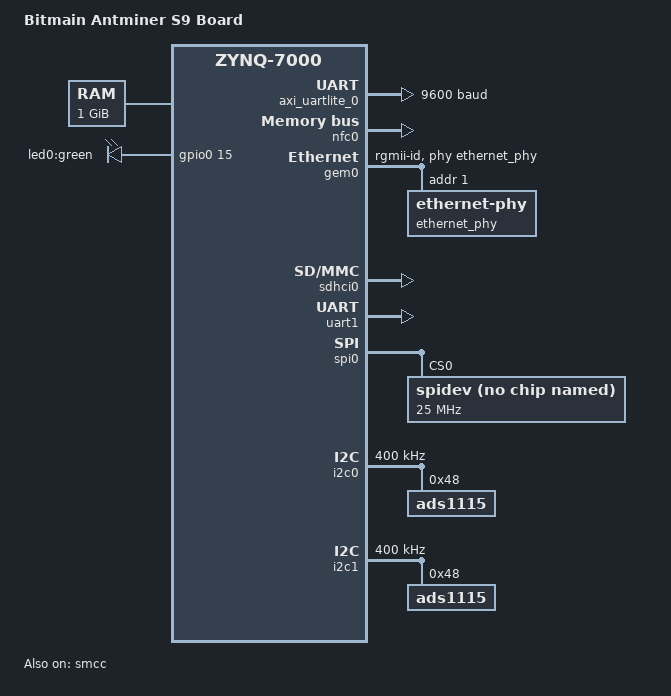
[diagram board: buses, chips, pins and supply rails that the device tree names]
// SPDX-License-Identifier: GPL-2.0
/*
 * Bitmain Antminer S9 board DTS
 *
 * Copyright (C) 2018 Michal Simek
 * Copyright (C) 2018 VanguardiaSur
 */
/dts-v1/;
/include/ "zynq-7000.dtsi"

/ {
	model = "Bitmain Antminer S9 Board";
	compatible = "bitmain,antminer-s9", "xlnx,zynq-7000";

	aliases {
		ethernet0 = &gem0;
		serial0 = &uart1;
		serial1 = &axi_uartlite_0;
		mmc0 = &sdhci0;
		gpio0 = &gpio0;
	};

	memory@0 {
		device_type = "memory";
		reg = <0x0 0x40000000>;
	};

	reserved-memory {
		#address-cells = <1>;
		#size-cells = <1>;
		ranges;

		bootcount@efffff0 {
			reg = <0xefffff0 0x10>;
			no-map;
		};

		fpga_space@f000000 {
			reg = <0xf000000 0x1000000>;
			no-map;
		};
	};

	chosen {
		bootargs = "earlycon clk_ignore_unused";
		stdout-path = "serial0:115200n8";
	};

	leds {
		compatible = "gpio-leds";
		led0 {
			label = "led0:green";
			gpios = <&gpio0 15 0>;
			linux,default-trigger = "heartbeat";
		};
	};

	fpga_axi: amba_pl {
		compatible = "simple-bus";
		#address-cells = <0x1>;
		#size-cells = <0x1>;
		ranges;
		firmware-name = "system_bd_wrapper.bit.bin";


		axi_fifo_1: axi_fifo@42c02000 {
			compatible = "generic-uio";
			interrupts = <0x0 0x1e 0x4>;
			interrupt-parent = <&intc>;
			reg = <0x42c02000 0x2000>;
			clocks = <&clkc 0xf>;
		};

		axi_uartlite_0: serial@42c00000 {
				phandle = <0x5>;
				interrupts = <0x0 0x1d 0x1>;
				compatible = "xlnx,axi-uartlite-1.02.a", "xlnx,axi-uartlite-2.0", "xlnx,xps-uartlite-1.00.a";
				port-number = <0x0>;
				xlnx,uartlite-board-interface = "Custom";
				xlnx,s-axi-aclk-freq-hz-d = <0x32>;
				interrupt-parent = <&intc>;
				xlnx,ip-name = "axi_uartlite";
				reg = <0x42c00000 0x2000>;
				xlnx,baudrate = <0x2580>;
				clocks = <&clkc 0xf>;
				current-speed = <0x2580>;
				device_type = "serial";
				xlnx,use-parity = <0x0>;
				xlnx,edk-iptype = "PERIPHERAL";
				xlnx,odd-parity = <0x0>;
				status = "okay";
				clock-names = "s_axi_aclk";
				interrupt-names = "interrupt";
				xlnx,data-bits = <0x8>;
				xlnx,parity = "No_Parity";
		};
	};

	clocking0: clocking0 {
			phandle = <0x4b>;
			compatible = "xlnx,fclk";
			assigned-clocks = <&clkc 0xf>;
			assigned-clock-rates = <0x2faf080>;
			#clock-cells = <0x0>;
			clock-output-names = "fabric_clk";
			clocks = <&clkc 0xf>;
	};
	
};

&clkc {
	ps-clk-frequency = <33333333>;
};

&nfc0 {
	status = "okay";
};

&smcc {
	status = "okay";
};

&gem0 {
	status = "okay";
	phy-mode = "rgmii-id";
	xlnx,ptp-enet-clock = <0x69f6bcb>;
	phy-handle = <&ethernet_phy>;

	/* 0362/5e62 */
	ethernet_phy: ethernet-phy@1 {
		reg = <1>;
	};
};

&sdhci0 {
	u-boot,dm-pre-reloc;
	bootph-all;
	status = "okay";
	disable-wp;
};

&uart1 {
	u-boot,dm-pre-reloc;
	bootph-all;
	status = "okay";
};

&spi0 {
    #address-cells=<1>;     
    #size-cells=<0>;	
    status = "okay";	
    num-cs = <1>;
    bus-num = <0>;
    is-decoded-cs = <0>;
	
    spidev@0x00 {
        //compatible = "spidev";
        compatible = "rohm,dh2228fv";
	
        /* Max SPI clock frequency via Zynq EMIO is 25MHz */	
        spi-max-frequency = <25000000>;

        /* slave number - CS */
        reg = <0>;

        /* Set SPI mode = 0 */		
        spi-cpol = <0>;	
        spi-cpha = <0>;
    };
};

&i2c0 {
	status = "okay";
	clock-frequency = <400000>;

        ads1115@48{
           compatible = "ads1115";
           reg = <0x48>;
        };
};

&i2c1 {
	status = "okay";
	clock-frequency = <400000>;

        ads1115@48{
           compatible = "ads1115";
           reg = <0x48>;
        };
};

		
